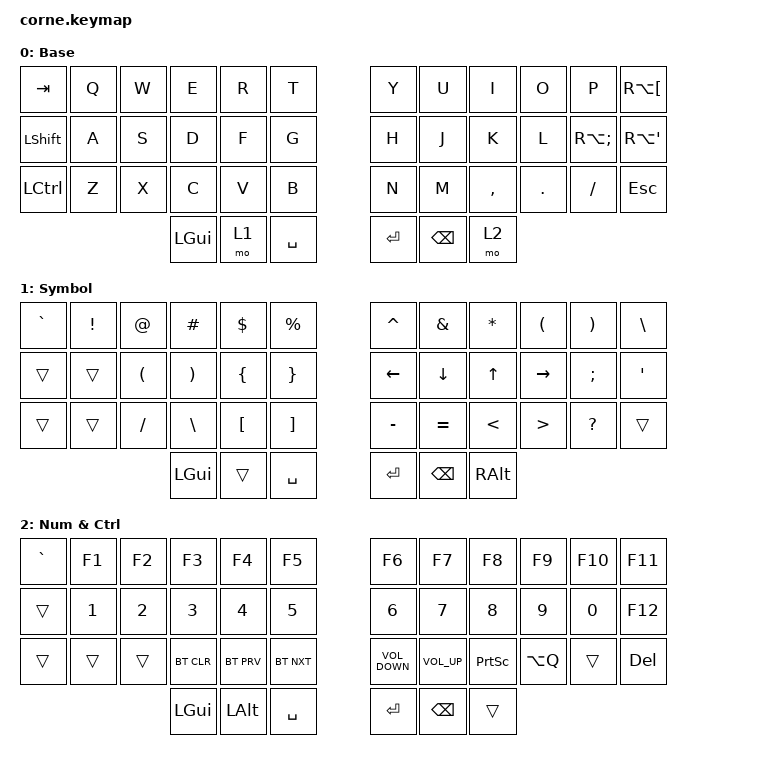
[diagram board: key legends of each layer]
/*
 * Copyright (c) 2020 The ZMK Contributors
 *
 * SPDX-License-Identifier: MIT
 */

#include <behaviors.dtsi>
#include <dt-bindings/zmk/bt.h>
#include <dt-bindings/zmk/keys.h>

/ {
    keymap {
        compatible = "zmk,keymap";

        default_layer {
            // -----------------------------------------------------------------------------------------
            // |  TAB |  Q  |  W  |  E  |  R  |  T  |   |  Y  |  U   |  I  |  O  |  P  | BKSP |
            // | CTRL |  A  |  S  |  D  |  F  |  G  |   |  H  |  J   |  K  |  L  |  ;  |  '   |
            // | SHFT |  Z  |  X  |  C  |  V  |  B  |   |  N  |  M   |  ,  |  .  |  /  | ESC  |
            //                    | GUI | LWR | SPC |   | ENT | RSE  | ALT |

            display-name = "Base";
            bindings = <
&kp TAB         &kp Q  &kp W  &kp E     &kp R  &kp T        &kp Y    &kp U          &kp I      &kp O    &kp P         &kp RA(LEFT_BRACKET)
&kp LEFT_SHIFT  &kp A  &kp S  &kp D     &kp F  &kp G        &kp H    &kp J          &kp K      &kp L    &kp RA(SEMI)  &kp RA(SQT)
&kp LCTRL       &kp Z  &kp X  &kp C     &kp V  &kp B        &kp N    &kp M          &kp COMMA  &kp DOT  &kp FSLH      &kp ESC
                              &kp LGUI  &mo 1  &kp SPACE    &kp RET  &kp BACKSPACE  &mo 2
            >;
        };

        lower_layer {
            // -----------------------------------------------------------------------------------------
            // |  TAB |  1  |  2  |  3  |  4  |  5  |   |  6  |  7  |  8  |  9  |  0  | BKSP |
            // | BTCLR| BT1 | BT2 | BT3 | BT4 | BT5 |   | LFT | DWN |  UP | RGT |     |      |
            // | SHFT |     |     |     |     |     |   |     |     |     |     |     |      |
            //                    | GUI |     | SPC |   | ENT |     | ALT |

            display-name = "Symbol";
            bindings = <
&kp GRAVE  &kp EXCL  &kp AT                &kp HASH               &kp DOLLAR        &kp PERCENT          &kp CARET  &kp AMPS       &kp ASTERISK   &kp LEFT_PARENTHESIS  &kp RIGHT_PARENTHESIS  &kp BACKSLASH
&trans     &trans    &kp LEFT_PARENTHESIS  &kp RIGHT_PARENTHESIS  &kp LEFT_BRACE    &kp RIGHT_BRACE      &kp LEFT   &kp DOWN       &kp UP         &kp RIGHT             &kp SEMICOLON          &kp APOSTROPHE
&trans     &trans    &kp SLASH             &kp BACKSLASH          &kp LEFT_BRACKET  &kp RIGHT_BRACKET    &kp MINUS  &kp EQUAL      &kp LESS_THAN  &kp GREATER_THAN      &kp QUESTION           &trans
                                           &kp LGUI               &trans            &kp SPACE            &kp RET    &kp BACKSPACE  &kp RALT
            >;
        };

        raise_layer {
            // -----------------------------------------------------------------------------------------
            // |  TAB |  !  |  @  |  #  |  $  |  %  |   |  ^  |  &  |  *  |  (  |  )  | BKSP |
            // | CTRL |     |     |     |     |     |   |  -  |  =  |  [  |  ]  |  \  |  `   |
            // | SHFT |     |     |     |     |     |   |  _  |  +  |  {  |  }  | "|" |  ~   |
            //                    | GUI |     | SPC |   | ENT |     | ALT |

            display-name = "Num & Ctrl";
            bindings = <
&kp GRAVE  &kp F1        &kp F2        &kp F3        &kp F4        &kp F5        &kp F6             &kp F7           &kp F8           &kp F9     &kp F10  &kp F11
&trans     &kp NUMBER_1  &kp NUMBER_2  &kp NUMBER_3  &kp NUMBER_4  &kp N5        &kp NUMBER_6       &kp N7           &kp N8           &kp N9     &kp N0   &kp F12
&trans     &trans        &trans        &bt BT_CLR    &bt BT_PRV    &bt BT_NXT    &kp C_VOLUME_DOWN  &kp C_VOLUME_UP  &kp PRINTSCREEN  &kp LA(Q)  &trans   &kp DELETE
                                       &kp LGUI      &kp LEFT_ALT  &kp SPACE     &kp RET            &kp BACKSPACE    &trans
            >;
        };

        extra_1 { status = "reserved"; };

        extra_2 { status = "reserved"; };

        extra_3 { status = "reserved"; };
    };
};
